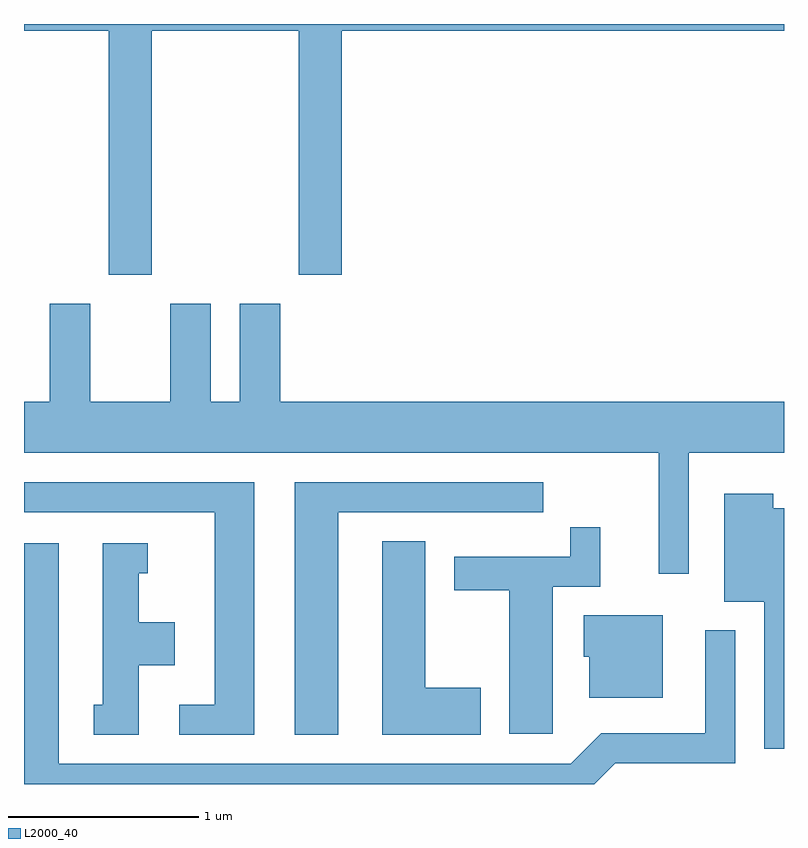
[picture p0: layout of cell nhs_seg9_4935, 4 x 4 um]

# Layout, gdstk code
import gdstk
lib = gdstk.Library(unit=1e-6, precision=1e-09)
def P(c, l, *ps):  # polygons
    for p in ps: c.add(gdstk.Polygon(p, *l))
L2000_40 = (2000, 40)

nhs_seg9_4935 = lib.new_cell('nhs_seg9_4935')
P(nhs_seg9_4935, L2000_40, [(330.284,2078.396),(331.056,2078.396),(331.056,2077.111),(331.284,2077.111),(331.284,2078.396),(333.611,2078.396),(333.611,2078.432),(329.611,2078.432),(329.611,2078.396),(330.056,2078.396),(330.056,2077.111),(330.284,2077.111)],
  [(333.109,2076.176),(333.611,2076.176),(333.611,2076.444),(330.959,2076.444),(330.959,2076.959),(330.746,2076.959),(330.746,2076.444),(330.594,2076.444),(330.594,2076.959),(330.381,2076.959),(330.381,2076.444),(329.959,2076.444),(329.959,2076.959),(329.746,2076.959),(329.746,2076.444),(329.611,2076.444),(329.611,2076.176),(332.951,2076.176),(332.951,2075.538),(333.109,2075.538)],
  [(331.264,2075.861),(332.343,2075.861),(332.343,2076.019),(331.036,2076.019),(331.036,2074.691),(331.264,2074.691)],
  [(330.824,2076.019),(329.611,2076.019),(329.611,2075.861),(330.616,2075.861),(330.616,2074.849),(330.428,2074.849),(330.428,2074.691),(330.824,2074.691)],
  [(333.611,2075.884),(333.554,2075.884),(333.554,2075.959),(333.296,2075.959),(333.296,2075.391),(333.506,2075.391),(333.506,2074.617),(333.611,2074.617)],
  [(332.394,2075.471),(332.644,2075.471),(332.644,2075.783),(332.486,2075.783),(332.486,2075.629),(331.876,2075.629),(331.876,2075.451),(332.166,2075.451),(332.166,2074.696),(332.394,2074.696)],
  [(332.014,2074.939),(331.724,2074.939),(331.724,2075.709),(331.496,2075.709),(331.496,2074.691),(332.014,2074.691)],
  [(330.214,2075.056),(330.404,2075.056),(330.404,2075.284),(330.214,2075.284),(330.214,2075.541),(330.263,2075.541),(330.263,2075.699),(330.026,2075.699),(330.026,2074.849),(329.978,2074.849),(329.978,2074.691),(330.214,2074.691)],
  [(332.722,2074.541),(333.354,2074.541),(333.354,2075.242),(333.196,2075.242),(333.196,2074.699),(332.649,2074.699),(332.489,2074.539),(329.794,2074.539),(329.794,2075.699),(329.611,2075.699),(329.611,2074.432),(332.613,2074.432)],
  [(332.974,2075.319),(332.556,2075.319),(332.556,2075.101),(332.586,2075.101),(332.586,2074.886),(332.974,2074.886)])

lib.write_gds('nhs_seg9_4935.gds')
